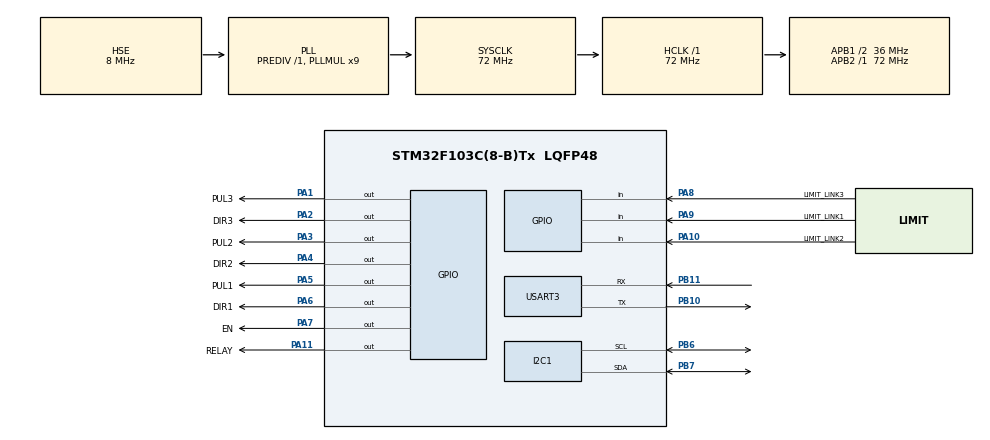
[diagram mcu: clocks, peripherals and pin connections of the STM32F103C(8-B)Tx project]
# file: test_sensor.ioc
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I2C1.I2C_Mode=I2C_Fast
Mcu.Family=STM32F1
Mcu.Name=STM32F103C(8-B)Tx
Mcu.Package=LQFP48
NVIC.PriorityGroup=NVIC_PRIORITYGROUP_4
NVIC.TIM2_IRQn=true\:5\:0\:true\:false\:true\:true\:true\:true
NVIC.TIM3_IRQn=true\:5\:0\:true\:false\:true\:true\:true\:true
NVIC.USART3_IRQn=true\:3\:0\:true\:false\:true\:true\:true\:true
PA1.GPIO_Label=PUL3
PA1.GPIO_PuPd=GPIO_PULLUP
PA1.PinState=GPIO_PIN_RESET
PA1.Signal=GPIO_Output
PA10.GPIO_Label=LIMIT_LINK2
PA10.GPIO_PuPd=GPIO_PULLDOWN
PA10.Signal=GPIO_Input
PA11.GPIO_Label=RELAY
PA11.GPIO_PuPd=GPIO_PULLUP
PA11.Signal=GPIO_Output
PA13.Mode=Serial_Wire
PA13.Signal=SYS_JTMS-SWDIO
PA14.Mode=Serial_Wire
PA14.Signal=SYS_JTCK-SWCLK
PA2.GPIO_Label=DIR3
PA2.GPIO_PuPd=GPIO_PULLUP
PA2.Signal=GPIO_Output
PA3.GPIO_Label=PUL2
PA3.GPIO_PuPd=GPIO_PULLUP
PA3.Signal=GPIO_Output
PA4.GPIO_Label=DIR2
PA4.GPIO_PuPd=GPIO_PULLUP
PA4.Signal=GPIO_Output
PA5.GPIO_Label=PUL1
PA5.GPIO_PuPd=GPIO_PULLUP
PA5.Signal=GPIO_Output
PA6.GPIO_Label=DIR1
PA6.GPIO_PuPd=GPIO_PULLUP
PA6.Signal=GPIO_Output
PA7.GPIO_Label=EN
PA7.GPIO_PuPd=GPIO_PULLUP
PA7.Signal=GPIO_Output
PA8.GPIO_Label=LIMIT_LINK3
PA8.GPIO_PuPd=GPIO_PULLDOWN
PA8.Signal=GPIO_Input
PA9.GPIO_Label=LIMIT_LINK1
PA9.GPIO_PuPd=GPIO_PULLDOWN
PA9.Signal=GPIO_Input
PB10.Mode=Asynchronous
PB10.Signal=USART3_TX
PB11.Mode=Asynchronous
PB11.Signal=USART3_RX
PB6.Mode=I2C
PB6.Signal=I2C1_SCL
PB7.Mode=I2C
PB7.Signal=I2C1_SDA
PD0-OSC_IN.Mode=HSE-External-Oscillator
PD0-OSC_IN.Signal=RCC_OSC_IN
PD1-OSC_OUT.Mode=HSE-External-Oscillator
PD1-OSC_OUT.Signal=RCC_OSC_OUT
ProjectManager.HeapSize=0x200
ProjectManager.StackSize=0x400
ProjectManager.TargetToolchain=STM32CubeIDE
RCC.AHBFreq_Value=72000000
RCC.APB1CLKDivider=RCC_HCLK_DIV2
RCC.APB1Freq_Value=36000000
RCC.APB1TimFreq_Value=72000000
RCC.APB2Freq_Value=72000000
RCC.APB2TimFreq_Value=72000000
RCC.HCLKFreq_Value=72000000
RCC.PLLMUL=RCC_PLL_MUL9
RCC.PLLSourceVirtual=RCC_PLLSOURCE_HSE
RCC.SYSCLKFreq_VALUE=72000000
RCC.SYSCLKSource=RCC_SYSCLKSOURCE_PLLCLK
RCC.USBFreq_Value=72000000
TIM2.AutoReloadPreload=TIM_AUTORELOAD_PRELOAD_ENABLE
TIM2.Period=2
TIM2.Prescaler=35999
TIM3.AutoReloadPreload=TIM_AUTORELOAD_PRELOAD_ENABLE
TIM3.Period=3
TIM3.Prescaler=719
USART3.VirtualMode=VM_ASYNC
VP_TIM2_VS_ClockSourceINT.Mode=Internal
VP_TIM3_VS_ClockSourceINT.Mode=Internal
board=custom

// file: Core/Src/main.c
/* USER CODE BEGIN Header */
/**
  ******************************************************************************
  * @file           : main.c
  * @brief          : Main program body
  ******************************************************************************
  * @attention
  *
  * Copyright (c) 2024 STMicroelectronics.
  * All rights reserved.
  *
  * This software is licensed under terms that can be found in the LICENSE file
  * in the root directory of this software component.
  * If no LICENSE file comes with this software, it is provided AS-IS.
  *
  ******************************************************************************
  */
/* USER CODE END Header */
#include "main.h"

/* USER CODE BEGIN Includes */
#include <stdlib.h>
#include <string.h>
#include <stdlib.h>
#include "math.h"
/* USER CODE END Includes */

/* USER CODE BEGIN PD */
#define BASE_INTERRUPT_PERIOD_MICROS 25
#define FASTEST_PERIOD_MICROS 100  // Fastest pulse period = 250 microseconds
#define HOMING_PULSE_LIMIT  50000
/* USER CODE END PD */

I2C_HandleTypeDef hi2c1;

TIM_HandleTypeDef htim2;
TIM_HandleTypeDef htim3;

UART_HandleTypeDef huart3;

/* USER CODE BEGIN PV */
float angle1, angle2, angle3 = 0.0, error = 0;
int angle11, angle21, angle31 = 0;
int HOME = 0;

// Define counters for each motor
int countPulseL1 = 0;
int countPulseL2 = 0;
int countPulseL3 = 0;

int8_t a,b,c = 0;
float d = 0;
float e = 0, f = 0,g = 0,h =0,i=0,p=0,m=0,z=0;
int dir1, dir2, dir3 = 1;
float a3Ratio = 0;
int count = 0;
// Soft counters and periods
int softCounter1 = 0;
int softCounter2 = 0;
int softCounter3 = 0;

int periodMotor1 = 0;
int periodMotor2 = 0;
int periodMotor3 = 0;

float target_angle_1 = 0;
float target_angle_2 = 0;
float target_angle_3 = 0;
float target_angle_1_temp = 1;
float target_angle_2_temp = 1;
float target_angle_3_temp = 1;

int steps_motor_1 = 0;
int steps_motor_2 = 0;
int steps_motor_3 = 0;

char tx_data[30] = "TRIET DEPTRAI \n";
char rx_data[21];  // Buffer for incoming data (adjust size as needed)
float rx_angle1, rx_angle2, rx_angle3 = 0;
int receiveComplete;
/* USER CODE END PV */

void SystemClock_Config(void);
static void MX_GPIO_Init(void);
static void MX_I2C1_Init(void);
static void MX_TIM2_Init(void);
static void MX_TIM3_Init(void);
static void MX_USART3_UART_Init(void);
/* USER CODE BEGIN PFP */
void pulseCreater(void);
void angleControl(float target_angle_1, float target_angle_2, float target_angle_3);
void update_current_angle(int motor_index, float steps,int direction);
void checkLimitSwitches(void) ;
void setHomeAngles();
/* USER CODE END PFP */

/* USER CODE BEGIN 0 */
void HAL_TIM_PeriodElapsedCallback(TIM_HandleTypeDef *htim)
{

	//------------
	if (htim->Instance==htim2.Instance)
	{

		if (HOME == 1){
			g+=1;

			if (g > 47000){
				g = 0;
			}

			if(1){
				target_angle_1 = rx_angle1;
				target_angle_2 = rx_angle2;
				target_angle_3 = rx_angle3;
			}

			if ((target_angle_1 != target_angle_1_temp)||(target_angle_2 != target_angle_2_temp)||(target_angle_3 != target_angle_3_temp)){

				target_angle_1_temp = target_angle_1;
				target_angle_2_temp = target_angle_2;
				target_angle_3_temp = target_angle_3;
				countPulseL1 = 0;
				countPulseL2 = 0;
				countPulseL3 = 0;

				angleControl(target_angle_1,target_angle_2,target_angle_3);

			}
			//angle3 = - angle2+ angle3;
			angleControl(target_angle_1,target_angle_2,target_angle_3);

		}
	}

	if (htim->Instance == htim3.Instance)
	{  // Ensure the correct timer is being checked
		// Handle Motor 1
		if (countPulseL1 > 0) {
			softCounter1++;  // Increment soft counter for motor 1
			if (softCounter1 >= periodMotor1) {  // If soft counter reaches the desired period
				HAL_GPIO_TogglePin(GPIOA, PUL1_Pin);  // Toggle Motor 1 pin (generate pulse)
				softCounter1 = 0;  // Reset the soft counter for motor 1
				countPulseL1--;    // Decrement the pulse count
				//e = 360/(44800*2);
				update_current_angle(1,1.0,dir1);
			}
		} else {
			HAL_GPIO_WritePin(GPIOA, PUL1_Pin, GPIO_PIN_RESET);  // Stop Motor 1
		}

		// Handle Motor 2
		if (countPulseL2 > 0) {
			softCounter2++;  // Increment soft counter for motor 2
			if (softCounter2 >= periodMotor2) {  // If soft counter reaches the desired period
				HAL_GPIO_TogglePin(GPIOA, PUL2_Pin);  // Toggle Motor 2 pin (generate pulse)
				softCounter2 = 0;  // Reset the soft counter for motor 2
				countPulseL2--;    // Decrement the pulse count
				update_current_angle(2,1.0,dir2);

			}
		} else {
			HAL_GPIO_WritePin(GPIOA, PUL2_Pin, GPIO_PIN_RESET);  // Stop Motor 2
		}

		// Handle Motor 3
		if (countPulseL3 > 0) {
			softCounter3++;  // Increment soft counter for motor 3
			if (softCounter3 >= periodMotor3) {  // If soft counter reaches the desired period
				HAL_GPIO_TogglePin(GPIOA, PUL3_Pin);  // Toggle Motor 3 pin (generate pulse)
				softCounter3 = 0;  // Reset the soft counter for motor 3
				countPulseL3--;    // Decrement the pulse count
				update_current_angle(3,1.0, dir3);

			}
		} else {
			HAL_GPIO_WritePin(GPIOA, PUL3_Pin, GPIO_PIN_RESET);  // Stop Motor 3
		}
	}
}
//----------------------Pulse Creater--------------------//
int char_to_int(char c)
{
	return (int)(c) - 48;
}

void Mag_Control(int state)
{
	HAL_GPIO_WritePin(GPIOA, RELAY_Pin, state);
}

void update_current_angle(int motor_index, float steps, int direction) {
    float angle_change = steps * 360.0 / (43840.0 * 2.0); // Calculate the change in angle

    // If direction is negative, reverse the angle change
    if (direction < 0) {
        angle_change = -angle_change;
    }

    switch (motor_index){
        case 1:
            angle1 += angle_change; // Update current angle for motor 1
            break;
        case 2:
            angle2 += angle_change; // Update current angle for motor 2
            angle3 -= angle_change;
            break;
        case 3:
            angle3 += angle_change; // Update current angle for motor 3
            break;
    }
}

int calculate_steps(float current_angle, float target_angle)
{
    // Calculate the angular difference

    float angular_difference ;
    float temp;

    temp = target_angle - current_angle;
    if (temp > 0){
    	i = 1;
    }else{
    	i = -1;
    }
	if (fabs(temp) == 0){
		angular_difference = 0;
	}else{
		angular_difference = (target_angle) - current_angle;
	}

    // Convert angular difference to steps
	int steps_needed = (((angular_difference) / 360.0) * 43840.0 * 2.0);
	d = (int)round((0.98 / 360.0) * 43840 * 2.0);
    // Return the absolute number of steps (stepper motors can't move negative steps)
    return steps_needed;
}

int maxSteps(int steps_motor_1, int steps_motor_2, int steps_motor_3)
{
    int max_value = steps_motor_1;  // Assume motor 1 has the maximum steps

    if (steps_motor_2 > max_value) {
        max_value = steps_motor_2;  // Update if motor 2 has more steps
    }

    if (steps_motor_3 > max_value) {
        max_value = steps_motor_3;  // Update if motor 3 has more steps
    }

    return max_value;  // Return the largest number of steps
}

void angleControl(float target_angle_1, float target_angle_2, float target_angle_3) {
	// Read the current angles from the sensors
	//Read_Angles();

	// Calculate the required steps for each motor based on current and target angles
	int steps_motor_1 = calculate_steps(angle1, (target_angle_1));
	int steps_motor_2 = calculate_steps(angle2, (target_angle_2));
	//f = steps_motor_2;
	int steps_motor_3 = calculate_steps(angle3, target_angle_3);

	// Set the pulse counts for each motor
	countPulseL1 = abs(steps_motor_1);
	countPulseL2 = abs(steps_motor_2) ;
	error = angle3 - target_angle_3;

	//countPulseL3 =abs(abs(steps_motor_3) + countPulseL2);
	//steps_motor_3 = countPulseL3;
	//steps_motor_3 = countPulseL3;

	// Determine the direction for each motor and set control pins accordingly
	if (target_angle_1 > angle1) {
		// Move motor 1 clockwise
		dir1 = 1;
		HAL_GPIO_WritePin(GPIOA, DIR1_Pin, GPIO_PIN_SET);

	} else {
		dir1 = -1;
		// Move motor 1 counterclockwise
		HAL_GPIO_WritePin(GPIOA, DIR1_Pin, GPIO_PIN_RESET);
	}

	if (target_angle_2 >= angle2) {
		// Move motor 2 clockwise
		dir2 = 1;
		HAL_GPIO_WritePin(GPIOA, DIR2_Pin, GPIO_PIN_SET);
	} else {
		// Move motor 2 counterclockwise
		dir2 = -1;
		HAL_GPIO_WritePin(GPIOA, DIR2_Pin, GPIO_PIN_RESET);
	}

	if (steps_motor_2 == 0){
		dir2 =1;
	}else if (steps_motor_1 == 0){
		dir3 = -1;
	}

	if (target_angle_3 > angle3 && dir2 == 1) {
		// Motor 3 moves clockwise when Motor 2 is moving clockwise
		h = 1;
		dir3 = 1;
		f = steps_motor_3;
		countPulseL3 = abs(steps_motor_3);
		steps_motor_3 = countPulseL3;
		HAL_GPIO_WritePin(GPIOA, DIR3_Pin, GPIO_PIN_RESET);
	}
	else if (target_angle_3 < angle3 && dir2 == 1) {
		// Motor 3 moves counterclockwise when Motor 2 is moving counterclockwise
		h = 2;
		dir3 = -1;
		countPulseL3 =abs(steps_motor_3);
		steps_motor_3 = countPulseL3;
		HAL_GPIO_WritePin(GPIOA, DIR3_Pin, GPIO_PIN_SET);
	} else if (target_angle_3 < angle3 && dir2 == -1) {
		// Motor 3 moves counterclockwise when Motor 2 is moving counterclockwise
		h = 3;
		dir3 = -1;
		countPulseL3 =abs(steps_motor_3);
		steps_motor_3 = countPulseL3;
		HAL_GPIO_WritePin(GPIOA, DIR3_Pin, GPIO_PIN_SET);
	}
	else if (target_angle_3 > angle3 && dir2 == -1) {
		// Motor 3 moves counterclockwise when Motor 2 is moving counterclockwise
		h = 4;
		dir3 = 1;
		f = steps_motor_3;
		countPulseL3 = abs( steps_motor_3);
		steps_motor_3 = countPulseL3;
		HAL_GPIO_WritePin(GPIOA, DIR3_Pin, GPIO_PIN_RESET);
	} else {
		// Maintain angle3 in sync with angle2’s direction
		h =5;
		dir3 = dir2;
		HAL_GPIO_WritePin(GPIOA, DIR3_Pin, dir3 == 1 ? GPIO_PIN_RESET : GPIO_PIN_SET);
	}

	// Determine the maximum steps needed to synchronize the motors
	int max_steps = maxSteps(abs(steps_motor_1), abs(steps_motor_2), abs(steps_motor_3));

	// Calculate the pulse periods for each motor based on the maximum steps
	periodMotor1 = (int)(((float)max_steps / abs(steps_motor_1)) * (FASTEST_PERIOD_MICROS / BASE_INTERRUPT_PERIOD_MICROS)) + 2;
	periodMotor2 = (int)(((float)max_steps / abs(steps_motor_2)) * (FASTEST_PERIOD_MICROS / BASE_INTERRUPT_PERIOD_MICROS)) + 2;
	periodMotor3 = (int)(((float)max_steps / abs(steps_motor_3)) * (FASTEST_PERIOD_MICROS / BASE_INTERRUPT_PERIOD_MICROS)) + 2;

	// Start the timer if it is not already running (ensure the timer has been initialized)
	//HAL_TIM_Base_Start_IT(&htim4);
}

void autoHomeMotors(void) {
    // Set initial movement direction for homing (assumes motors move towards the limit switches)
    HAL_GPIO_WritePin(GPIOA, DIR1_Pin, GPIO_PIN_RESET); // Move Motor 1 in the homing direction
    HAL_GPIO_WritePin(GPIOA, DIR2_Pin, GPIO_PIN_SET); // Move Motor 2 in the homing direction
    HAL_GPIO_WritePin(GPIOA, DIR3_Pin, GPIO_PIN_SET); // Move Motor 3 in the homing direction

    // Start moving the motors
    countPulseL1 = HOMING_PULSE_LIMIT;  // Arbitrary large value for homing
    countPulseL2 = HOMING_PULSE_LIMIT;  // Arbitrary large value for homing
    countPulseL3 = HOMING_PULSE_LIMIT;  // Arbitrary large value for homing

    periodMotor1 = 8;
	periodMotor2 = 8;
	periodMotor3 = 16;
	int i = 0;

    // Wait until all limit switches are triggered
    while (a == 0 || b == 0 || c == 0 || count <1) {
        checkLimitSwitches(); // Continuously check the limit switches
    }
    while (count == 1){
    	HAL_GPIO_WritePin(GPIOA, DIR3_Pin, GPIO_PIN_RESET);

    	if (countPulseL3 == 0 && i == 0){
    		countPulseL3 = 10060;
    		i = 1;
    	}

    	if (countPulseL3 == 0 && i == 1){
			count = 2;
			a = 0;
			b=0;
			c=0;
			countPulseL3 = 50000;
		}
    }

    while (a == 0 || b == 0 || c == 0 ) {
		checkLimitSwitches(); // Continuously check the limit switches
	}

    // Set the home angle once all limit switches are activated
    HOME = 1;
    setHomeAngles();
}

void setHomeAngles(void) {
    // Set the current angle to zero or a specific home angle as needed
    angle1 = 5.0; // Home position for Motor 1
    angle2 = 86.0; // Home position for Motor 2
    angle3 = -151.0; // Home position for Motor 3

}

void checkLimitSwitches(void) {
    // Check and handle limit switch 1
    if (HAL_GPIO_ReadPin(GPIOA, GPIO_PIN_9) == GPIO_PIN_SET) {
        a = 1;
        countPulseL1 = 0;  // Stop Motor 1 if limit switch 1 is triggered
    } else {
        a = 0;
    }

    // Check and handle limit switch 2, ensuring that it only works if limit switch 3 is not active
    if (HAL_GPIO_ReadPin(GPIOA, GPIO_PIN_10) == GPIO_PIN_SET) {
        b = 1;
        countPulseL2 = 0;  // Stop Motor 2 if limit switch 2 is triggered
    } else {
        b = 0;
    }

    if (a == 1 && b == 1 && c == 1 && count != 1){
      count = 1;

	}

    // Check and handle limit switch 3
    if (HAL_GPIO_ReadPin(GPIOA, GPIO_PIN_8) == GPIO_PIN_SET) {
        c = 1;

		periodMotor3 = periodMotor2;
		countPulseL3 = countPulseL2;  // Stop Motor 3 if limit switch 3 is triggered

        HAL_GPIO_WritePin(GPIOA, DIR3_Pin, GPIO_PIN_RESET);  // Stop motor direction for M3
    } else {
        c = 0;
        HAL_GPIO_WritePin(GPIOA, DIR3_Pin, GPIO_PIN_SET);  // Set motor direction for M3
    }

}
void decode_angles(const char *input, float *angle1, float *angle2, float *angle3) {
	// Decode angle1
	    int sign1 = (input[0] == '1') ? 1 : -1;  // Check sign at position 0
	    *angle1 = sign1 * ((input[1] - '0') * 100 + (input[2] - '0') * 10 + (input[3] - '0')
	                      + (input[4] - '0') * 0.1 + (input[5] - '0') * 0.01);

	    // Decode angle2
	    int sign2 = (input[7] == '1') ? 1 : -1;  // Check sign at position 7
	    *angle2 = sign2 * ((input[8] - '0') * 100 + (input[9] - '0') * 10 + (input[10] - '0')
	                      + (input[11] - '0') * 0.1 + (input[12] - '0') * 0.01);

	    // Decode angle3
	    int sign3 = (input[14] == '1') ? 1 : -1;  // Check sign at position 14
	    *angle3 = sign3 * ((input[15] - '0') * 100 + (input[16] - '0') * 10 + (input[17] - '0')
	                      + (input[18] - '0') * 0.1 + (input[19] - '0') * 0.01);
}

void HAL_UART_RxCpltCallback(UART_HandleTypeDef *huart)
{
  /* Prevent unused argument(s) compilation warning */
  UNUSED(huart);

  /* NOTE : This function should not be modified, when the callback is needed,
            the HAL_UART_RxCpltCallback can be implemented in the user file.
   */
  if (huart->Instance == huart3.Instance){
	  // Ensure received data is null-terminated

	  //rx_data[29] = '\0';

	  // Ensure the received data is null-terminated

	  // Set the flag indicating data is ready for use
	  receiveComplete = 1;

	  // Restart reception for the next incoming data
	  HAL_UART_Receive_IT(&huart3, rx_data, 21);
	  decode_angles(rx_data, &rx_angle1, &rx_angle2, &rx_angle3);

  }
}
/* USER CODE END 0 */

int main(void)
{

  /* MCU Configuration--------------------------------------------------------*/

  /* Reset of all peripherals, Initializes the Flash interface and the Systick. */
  HAL_Init();

  /* Configure the system clock */
  SystemClock_Config();

  /* Initialize all configured peripherals */
  MX_GPIO_Init();
  MX_I2C1_Init();
  MX_TIM2_Init();
  MX_TIM3_Init();
  MX_USART3_UART_Init();
  /* USER CODE BEGIN 2 */
  HAL_TIM_Base_Start_IT(&htim2);
  HAL_TIM_Base_Start_IT(&htim3);
  HAL_UART_Transmit(&huart3, (uint8_t *)tx_data, sizeof(tx_data), 10);
  HAL_UART_Receive_IT(&huart3, (uint8_t *)rx_data, 21);
  autoHomeMotors();

  /* USER CODE END 2 */

  /* Infinite loop */
  while (1)
  {

  }
}

void SystemClock_Config(void)
{
  RCC_OscInitTypeDef RCC_OscInitStruct = {0};
  RCC_ClkInitTypeDef RCC_ClkInitStruct = {0};

  /** Initializes the RCC Oscillators according to the specified parameters
  * in the RCC_OscInitTypeDef structure.
  */
  RCC_OscInitStruct.OscillatorType = RCC_OSCILLATORTYPE_HSE;
  RCC_OscInitStruct.HSEState = RCC_HSE_ON;
  RCC_OscInitStruct.HSEPredivValue = RCC_HSE_PREDIV_DIV1;
  RCC_OscInitStruct.HSIState = RCC_HSI_ON;
  RCC_OscInitStruct.PLL.PLLState = RCC_PLL_ON;
  RCC_OscInitStruct.PLL.PLLSource = RCC_PLLSOURCE_HSE;
  RCC_OscInitStruct.PLL.PLLMUL = RCC_PLL_MUL9;
  if (HAL_RCC_OscConfig(&RCC_OscInitStruct) != HAL_OK)
  {
    Error_Handler();
  }

  /** Initializes the CPU, AHB and APB buses clocks
  */
  RCC_ClkInitStruct.ClockType = RCC_CLOCKTYPE_HCLK|RCC_CLOCKTYPE_SYSCLK
                              |RCC_CLOCKTYPE_PCLK1|RCC_CLOCKTYPE_PCLK2;
  RCC_ClkInitStruct.SYSCLKSource = RCC_SYSCLKSOURCE_PLLCLK;
  RCC_ClkInitStruct.AHBCLKDivider = RCC_SYSCLK_DIV1;
  RCC_ClkInitStruct.APB1CLKDivider = RCC_HCLK_DIV2;
  RCC_ClkInitStruct.APB2CLKDivider = RCC_HCLK_DIV1;

  if (HAL_RCC_ClockConfig(&RCC_ClkInitStruct, FLASH_LATENCY_2) != HAL_OK)
  {
    Error_Handler();
  }
}

static void MX_I2C1_Init(void)
{

  hi2c1.Instance = I2C1;
  hi2c1.Init.ClockSpeed = 400000;
  hi2c1.Init.DutyCycle = I2C_DUTYCYCLE_2;
  hi2c1.Init.OwnAddress1 = 0;
  hi2c1.Init.AddressingMode = I2C_ADDRESSINGMODE_7BIT;
  hi2c1.Init.DualAddressMode = I2C_DUALADDRESS_DISABLE;
  hi2c1.Init.OwnAddress2 = 0;
  hi2c1.Init.GeneralCallMode = I2C_GENERALCALL_DISABLE;
  hi2c1.Init.NoStretchMode = I2C_NOSTRETCH_DISABLE;
  if (HAL_I2C_Init(&hi2c1) != HAL_OK)
  {
    Error_Handler();
  }

}

static void MX_TIM2_Init(void)
{

  TIM_ClockConfigTypeDef sClockSourceConfig = {0};
  TIM_MasterConfigTypeDef sMasterConfig = {0};

  htim2.Instance = TIM2;
  htim2.Init.Prescaler = 35999;
  htim2.Init.CounterMode = TIM_COUNTERMODE_UP;
  htim2.Init.Period = 2;
  htim2.Init.ClockDivision = TIM_CLOCKDIVISION_DIV1;
  htim2.Init.AutoReloadPreload = TIM_AUTORELOAD_PRELOAD_ENABLE;
  if (HAL_TIM_Base_Init(&htim2) != HAL_OK)
  {
    Error_Handler();
  }
  sClockSourceConfig.ClockSource = TIM_CLOCKSOURCE_INTERNAL;
  if (HAL_TIM_ConfigClockSource(&htim2, &sClockSourceConfig) != HAL_OK)
  {
    Error_Handler();
  }
  sMasterConfig.MasterOutputTrigger = TIM_TRGO_RESET;
  sMasterConfig.MasterSlaveMode = TIM_MASTERSLAVEMODE_DISABLE;
  if (HAL_TIMEx_MasterConfigSynchronization(&htim2, &sMasterConfig) != HAL_OK)
  {
    Error_Handler();
  }

}

static void MX_TIM3_Init(void)
{

  TIM_ClockConfigTypeDef sClockSourceConfig = {0};
  TIM_MasterConfigTypeDef sMasterConfig = {0};

  htim3.Instance = TIM3;
  htim3.Init.Prescaler = 719;
  htim3.Init.CounterMode = TIM_COUNTERMODE_UP;
  htim3.Init.Period = 3;
  htim3.Init.ClockDivision = TIM_CLOCKDIVISION_DIV1;
  htim3.Init.AutoReloadPreload = TIM_AUTORELOAD_PRELOAD_ENABLE;
  if (HAL_TIM_Base_Init(&htim3) != HAL_OK)
  {
    Error_Handler();
  }
  sClockSourceConfig.ClockSource = TIM_CLOCKSOURCE_INTERNAL;
  if (HAL_TIM_ConfigClockSource(&htim3, &sClockSourceConfig) != HAL_OK)
  {
    Error_Handler();
  }
  sMasterConfig.MasterOutputTrigger = TIM_TRGO_RESET;
  sMasterConfig.MasterSlaveMode = TIM_MASTERSLAVEMODE_DISABLE;
  if (HAL_TIMEx_MasterConfigSynchronization(&htim3, &sMasterConfig) != HAL_OK)
  {
    Error_Handler();
  }

}

static void MX_USART3_UART_Init(void)
{

  huart3.Instance = USART3;
  huart3.Init.BaudRate = 115200;
  huart3.Init.WordLength = UART_WORDLENGTH_8B;
  huart3.Init.StopBits = UART_STOPBITS_1;
  huart3.Init.Parity = UART_PARITY_NONE;
  huart3.Init.Mode = UART_MODE_TX_RX;
  huart3.Init.HwFlowCtl = UART_HWCONTROL_NONE;
  huart3.Init.OverSampling = UART_OVERSAMPLING_16;
  if (HAL_UART_Init(&huart3) != HAL_OK)
  {
    Error_Handler();
  }

}

static void MX_GPIO_Init(void)
{
  GPIO_InitTypeDef GPIO_InitStruct = {0};

  /* GPIO Ports Clock Enable */
  __HAL_RCC_GPIOD_CLK_ENABLE();
  __HAL_RCC_GPIOA_CLK_ENABLE();
  __HAL_RCC_GPIOB_CLK_ENABLE();

  /*Configure GPIO pin Output Level */
  HAL_GPIO_WritePin(GPIOA, PUL3_Pin|DIR3_Pin|PUL2_Pin|DIR2_Pin
                          |PUL1_Pin|DIR1_Pin|EN_Pin|RELAY_Pin, GPIO_PIN_RESET);

  /*Configure GPIO pins : PUL3_Pin DIR3_Pin PUL2_Pin DIR2_Pin
                           PUL1_Pin DIR1_Pin EN_Pin RELAY_Pin */
  GPIO_InitStruct.Pin = PUL3_Pin|DIR3_Pin|PUL2_Pin|DIR2_Pin
                          |PUL1_Pin|DIR1_Pin|EN_Pin|RELAY_Pin;
  GPIO_InitStruct.Mode = GPIO_MODE_OUTPUT_PP;
  GPIO_InitStruct.Pull = GPIO_PULLUP;
  GPIO_InitStruct.Speed = GPIO_SPEED_FREQ_LOW;
  HAL_GPIO_Init(GPIOA, &GPIO_InitStruct);

  /*Configure GPIO pins : LIMIT_LINK3_Pin LIMIT_LINK1_Pin LIMIT_LINK2_Pin */
  GPIO_InitStruct.Pin = LIMIT_LINK3_Pin|LIMIT_LINK1_Pin|LIMIT_LINK2_Pin;
  GPIO_InitStruct.Mode = GPIO_MODE_INPUT;
  GPIO_InitStruct.Pull = GPIO_PULLDOWN;
  HAL_GPIO_Init(GPIOA, &GPIO_InitStruct);

}

void Error_Handler(void)
{
  __disable_irq();
  while (1)
  {
  }
}
